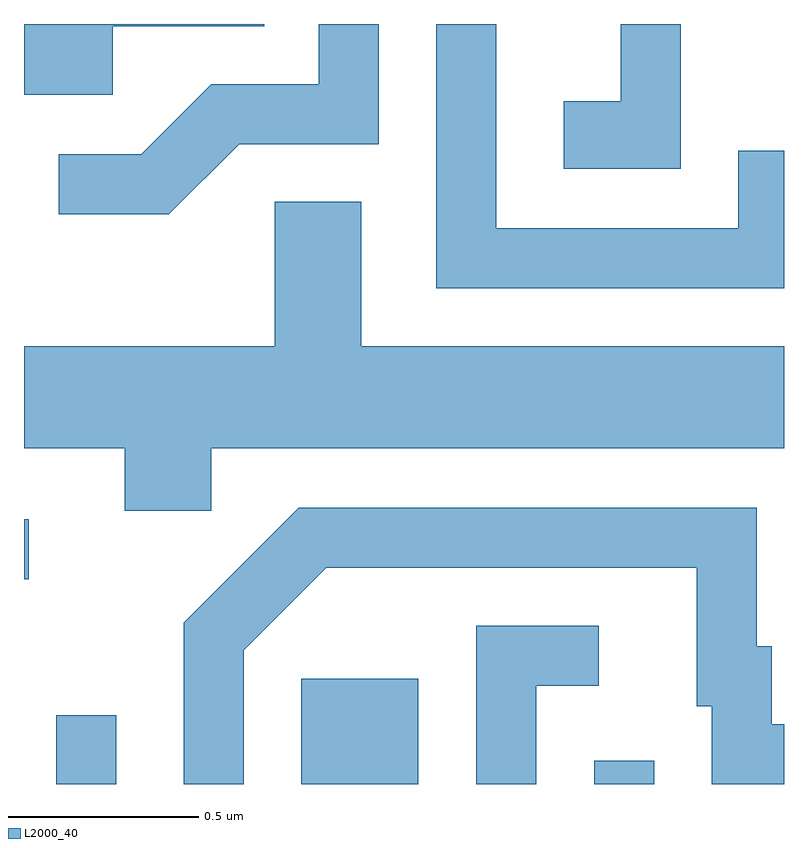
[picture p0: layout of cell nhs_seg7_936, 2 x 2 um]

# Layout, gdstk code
import gdstk
lib = gdstk.Library(unit=1e-6, precision=1e-09)
def R(c, l, rs):  # rectangles x0, y0, x1, y1
    for r in rs: c.add(gdstk.rectangle(r[:2], r[2:], *l))
def P(c, l, *ps):  # polygons
    for p in ps: c.add(gdstk.Polygon(p, *l))
L2000_40 = (2000, 40)

nhs_seg7_936 = lib.new_cell('nhs_seg7_936')
R(nhs_seg7_936, L2000_40, [(191.696,1782.252,191.854,1782.433), (192.341,1782.252,192.649,1782.529), (193.111,1782.252,193.269,1782.313), (191.611,1782.791,191.623,1782.949)])
P(nhs_seg7_936, L2000_40, [(192.177,1783.936),(192.544,1783.936),(192.544,1784.252),(192.386,1784.252),(192.386,1784.094),(192.104,1784.094),(191.919,1783.909),(191.703,1783.909),(191.703,1783.751),(191.992,1783.751)],
  [(193.611,1783.919),(193.491,1783.919),(193.491,1783.714),(192.854,1783.714),(192.854,1784.252),(192.696,1784.252),(192.696,1783.556),(193.611,1783.556)],
  [(191.844,1784.246),(192.243,1784.246),(192.243,1784.252),(191.611,1784.252),(191.611,1784.066),(191.844,1784.066)],
  [(193.339,1784.252),(193.181,1784.252),(193.181,1784.049),(193.031,1784.049),(193.031,1783.871),(193.339,1783.871)],
  [(192.104,1783.136),(193.611,1783.136),(193.611,1783.404),(192.499,1783.404),(192.499,1783.784),(192.271,1783.784),(192.271,1783.404),(191.611,1783.404),(191.611,1783.136),(191.876,1783.136),(191.876,1782.971),(192.104,1782.971)],
  [(192.189,1782.604),(192.407,1782.821),(193.381,1782.821),(193.381,1782.456),(193.421,1782.456),(193.421,1782.252),(193.611,1782.252),(193.611,1782.409),(193.579,1782.409),(193.579,1782.614),(193.539,1782.614),(193.539,1782.979),(192.334,1782.979),(192.031,1782.677),(192.031,1782.252),(192.189,1782.252)],
  [(192.959,1782.511),(193.123,1782.511),(193.123,1782.669),(192.801,1782.669),(192.801,1782.252),(192.959,1782.252)])

lib.write_gds('nhs_seg7_936.gds')
